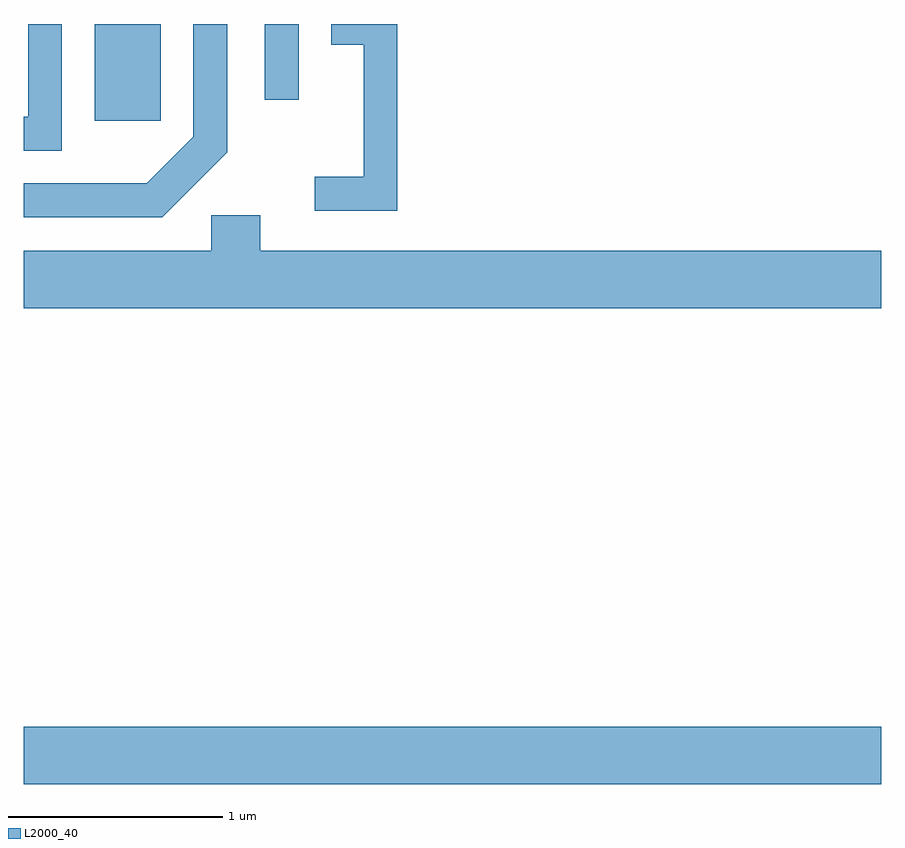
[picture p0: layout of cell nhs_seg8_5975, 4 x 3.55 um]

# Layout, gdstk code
import gdstk
lib = gdstk.Library(unit=1e-6, precision=1e-09)
def R(c, l, rs):  # rectangles x0, y0, x1, y1
    for r in rs: c.add(gdstk.rectangle(r[:2], r[2:], *l))
def P(c, l, *ps):  # polygons
    for p in ps: c.add(gdstk.Polygon(p, *l))
L2000_40 = (2000, 40)

nhs_seg8_5975 = lib.new_cell('nhs_seg8_5975')
R(nhs_seg8_5975, L2000_40, [(363.611,1900.796,367.611,1901.064), (363.941,1903.891,364.249,1904.342), (364.736,1903.988,364.894,1904.342)])
P(nhs_seg8_5975, L2000_40, [(365.354,1904.342),(365.046,1904.342),(365.046,1904.246),(365.196,1904.246),(365.196,1903.629),(364.968,1903.629),(364.968,1903.471),(365.354,1903.471)],
  [(364.559,1903.744),(364.559,1904.342),(364.401,1904.342),(364.401,1903.817),(364.184,1903.599),(363.611,1903.599),(363.611,1903.441),(364.257,1903.441)],
  [(363.789,1904.342),(363.631,1904.342),(363.631,1903.909),(363.611,1903.909),(363.611,1903.751),(363.789,1903.751)],
  [(367.611,1903.284),(364.714,1903.284),(364.714,1903.449),(364.486,1903.449),(364.486,1903.284),(363.611,1903.284),(363.611,1903.016),(367.611,1903.016)])

lib.write_gds('nhs_seg8_5975.gds')
